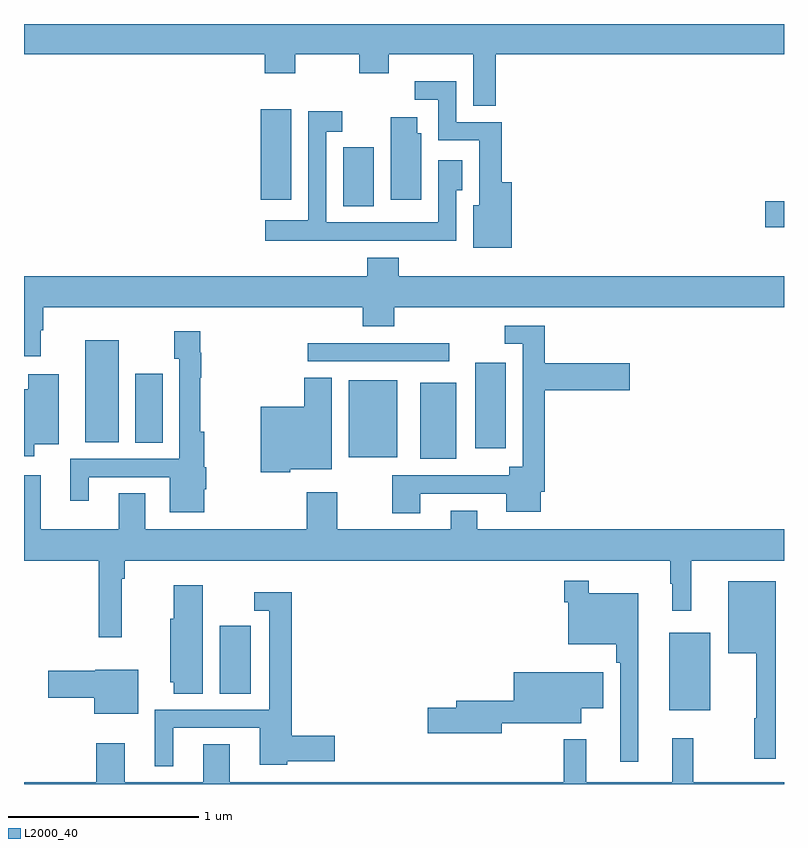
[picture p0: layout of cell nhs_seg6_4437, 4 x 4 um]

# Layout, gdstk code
import gdstk
lib = gdstk.Library(unit=1e-6, precision=1e-09)
def R(c, l, rs):  # rectangles x0, y0, x1, y1
    for r in rs: c.add(gdstk.rectangle(r[:2], r[2:], *l))
def P(c, l, *ps):  # polygons
    for p in ps: c.add(gdstk.Polygon(p, *l))
L2000_40 = (2000, 40)

nhs_seg6_4437 = lib.new_cell('nhs_seg6_4437')
R(nhs_seg6_4437, L2000_40, [(376.397,939.887,376.612,940.297), (374.03,939.976,374.194,940.333), (375.086,941.213,375.274,941.611), (374.708,941.219,374.965,941.626), (375.374,941.268,375.535,941.716), (373.586,941.296,373.729,941.659), (373.322,941.3,373.498,941.836), (374.493,941.724,375.238,941.82), (376.902,942.431,377,942.566), (374.681,942.541,374.842,942.852), (374.246,942.576,374.407,943.051)])
P(nhs_seg6_4437, L2000_40, [(375.484,943.34),(377,943.34),(377,943.5),(373,943.5),(373,943.34),(374.267,943.34),(374.267,943.241),(374.427,943.241),(374.427,943.34),(374.764,943.34),(374.764,943.241),(374.919,943.241),(374.919,943.34),(375.365,943.34),(375.365,943.069),(375.484,943.069)],
  [(375.566,942.667),(375.514,942.667),(375.514,942.984),(375.276,942.984),(375.276,943.198),(375.057,943.198),(375.057,943.101),(375.18,943.101),(375.18,942.888),(375.395,942.888),(375.395,942.547),(375.365,942.547),(375.365,942.323),(375.566,942.323)],
  [(374.689,942.36),(375.055,942.36),(375.055,942.359),(375.276,942.359),(375.276,942.625),(375.307,942.625),(375.307,942.784),(375.18,942.784),(375.18,942.456),(374.592,942.456),(374.592,942.933),(374.674,942.933),(374.674,943.042),(374.496,943.042),(374.496,942.466),(374.271,942.466),(374.271,942.359),(374.689,942.359)],
  [(375.091,942.924),(375.07,942.924),(375.07,943.009),(374.93,943.009),(374.93,942.576),(375.091,942.576)],
  [(373.087,941.888),(373.1,941.888),(373.1,942.008),(374.783,942.008),(374.783,941.909),(374.948,941.909),(374.948,942.008),(377,942.008),(377,942.172),(374.972,942.172),(374.972,942.271),(374.807,942.271),(374.807,942.172),(373,942.172),(373,941.751),(373.087,941.751)],
  [(375.085,941.028),(375.539,941.028),(375.539,940.934),(375.721,940.934),(375.721,941.038),(375.74,941.038),(375.74,941.573),(376.189,941.573),(376.189,941.715),(375.74,941.715),(375.74,941.913),(375.531,941.913),(375.531,941.817),(375.624,941.817),(375.624,941.17),(375.554,941.17),(375.554,941.124),(374.938,941.124),(374.938,940.926),(375.085,940.926)],
  [(373.948,941.052),(373.96,941.052),(373.96,941.166),(373.948,941.166),(373.948,941.353),(373.927,941.353),(373.927,941.639),(373.934,941.639),(373.934,941.771),(373.927,941.771),(373.927,941.884),(373.792,941.884),(373.792,941.739),(373.818,941.739),(373.818,941.211),(373.244,941.211),(373.244,940.992),(373.342,940.992),(373.342,941.115),(373.766,941.115),(373.766,940.931),(373.948,940.931)],
  [(373.054,941.288),(373.183,941.288),(373.183,941.656),(373.022,941.656),(373.022,941.578),(373,941.578),(373,941.226),(373.054,941.226)],
  [(374.4,941.156),(374.62,941.156),(374.62,941.639),(374.474,941.639),(374.474,941.485),(374.246,941.485),(374.246,941.141),(374.4,941.141)],
  [(373.514,940.58),(373.529,940.58),(373.529,940.676),(376.401,940.676),(376.401,940.553),(376.412,940.553),(376.412,940.413),(376.511,940.413),(376.511,940.676),(377,940.676),(377,940.84),(375.385,940.84),(375.385,940.939),(375.245,940.939),(375.245,940.84),(374.649,940.84),(374.649,941.035),(374.489,941.035),(374.489,940.84),(373.639,940.84),(373.639,941.03),(373.499,941.03),(373.499,940.84),(373.087,940.84),(373.087,941.125),(373,941.125),(373,940.676),(373.393,940.676),(373.393,940.272),(373.514,940.272)],
  [(376.234,940.504),(375.973,940.504),(375.973,940.57),(375.844,940.57),(375.844,940.457),(375.864,940.457),(375.864,940.235),(376.117,940.235),(376.117,940.139),(376.137,940.139),(376.137,939.618),(376.234,939.618)],
  [(376.957,940.567),(376.706,940.567),(376.706,940.187),(376.853,940.187),(376.853,939.845),(376.843,939.845),(376.843,939.633),(376.957,939.633)],
  [(373.942,940.546),(373.787,940.546),(373.787,940.371),(373.769,940.371),(373.769,940.035),(373.787,940.035),(373.787,939.976),(373.942,939.976)],
  [(373.786,939.795),(374.24,939.795),(374.24,939.602),(374.385,939.602),(374.385,939.62),(374.635,939.62),(374.635,939.755),(374.408,939.755),(374.408,940.51),(374.211,940.51),(374.211,940.413),(374.292,940.413),(374.292,939.891),(373.688,939.891),(373.688,939.594),(373.786,939.594)],
  [(373.6,940.102),(373.374,940.102),(373.374,940.097),(373.128,940.097),(373.128,939.955),(373.37,939.955),(373.37,939.869),(373.6,939.869)],
  [(375.514,939.821),(375.934,939.821),(375.934,939.899),(376.048,939.899),(376.048,940.087),(375.578,940.087),(375.578,939.938),(375.275,939.938),(375.275,939.902),(375.126,939.902),(375.126,939.767),(375.514,939.767)],
  [(377,939.508),(376.522,939.508),(376.522,939.742),(376.412,939.742),(376.412,939.508),(375.959,939.508),(375.959,939.736),(375.841,939.736),(375.841,939.508),(374.083,939.508),(374.083,939.71),(373.943,939.71),(373.943,939.508),(373.531,939.508),(373.531,939.715),(373.379,939.715),(373.379,939.508),(373,939.508),(373,939.5),(377,939.5)])

lib.write_gds('nhs_seg6_4437.gds')
